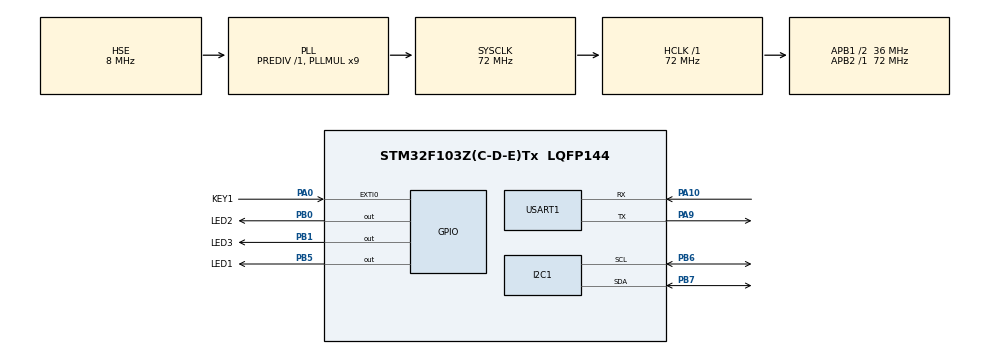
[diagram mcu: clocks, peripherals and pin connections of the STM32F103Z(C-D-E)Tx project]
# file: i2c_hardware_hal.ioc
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Mcu.Family=STM32F1
Mcu.Name=STM32F103Z(C-D-E)Tx
Mcu.Package=LQFP144
NVIC.EXTI0_IRQn=true\:3\:0\:true\:false\:true\:true\:true\:true
NVIC.PriorityGroup=NVIC_PRIORITYGROUP_4
NVIC.USART1_IRQn=true\:3\:0\:true\:false\:true\:true\:true\:true
OSC_IN.Mode=HSE-External-Oscillator
OSC_IN.Signal=RCC_OSC_IN
OSC_OUT.Mode=HSE-External-Oscillator
OSC_OUT.Signal=RCC_OSC_OUT
PA0-WKUP.GPIO_Label=KEY1
PA0-WKUP.GPIO_PuPd=GPIO_PULLDOWN
PA0-WKUP.Signal=GPXTI0
PA10.Mode=Asynchronous
PA10.Signal=USART1_RX
PA13.Mode=Serial_Wire
PA13.Signal=SYS_JTMS-SWDIO
PA14.Mode=Serial_Wire
PA14.Signal=SYS_JTCK-SWCLK
PA9.Mode=Asynchronous
PA9.Signal=USART1_TX
PB0.GPIO_Label=LED2
PB0.GPIO_Speed=GPIO_SPEED_FREQ_HIGH
PB0.PinState=GPIO_PIN_SET
PB0.Signal=GPIO_Output
PB1.GPIO_Label=LED3
PB1.GPIO_Speed=GPIO_SPEED_FREQ_HIGH
PB1.PinState=GPIO_PIN_SET
PB1.Signal=GPIO_Output
PB5.GPIO_Label=LED1
PB5.GPIO_Speed=GPIO_SPEED_FREQ_HIGH
PB5.PinState=GPIO_PIN_SET
PB5.Signal=GPIO_Output
PB6.Mode=I2C
PB6.Signal=I2C1_SCL
PB7.Mode=I2C
PB7.Signal=I2C1_SDA
PC14-OSC32_IN.Mode=LSE-External-Oscillator
PC14-OSC32_IN.Signal=RCC_OSC32_IN
PC15-OSC32_OUT.Mode=LSE-External-Oscillator
PC15-OSC32_OUT.Signal=RCC_OSC32_OUT
ProjectManager.HeapSize=0x200
ProjectManager.StackSize=0x400
ProjectManager.TargetToolchain=MDK-ARM V5.32
RCC.AHBFreq_Value=72000000
RCC.APB1CLKDivider=RCC_HCLK_DIV2
RCC.APB1Freq_Value=36000000
RCC.APB1TimFreq_Value=72000000
RCC.APB2Freq_Value=72000000
RCC.APB2TimFreq_Value=72000000
RCC.HCLKFreq_Value=72000000
RCC.PLLMUL=RCC_PLL_MUL9
RCC.PLLSourceVirtual=RCC_PLLSOURCE_HSE
RCC.SYSCLKFreq_VALUE=72000000
RCC.SYSCLKSource=RCC_SYSCLKSOURCE_PLLCLK
RCC.USBFreq_Value=72000000
USART1.VirtualMode=VM_ASYNC
board=custom

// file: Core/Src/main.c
/* USER CODE BEGIN Header */
/**
 ******************************************************************************
 * @file           : main.c
 * @brief          : Main program body
 ******************************************************************************
 * @attention
 *
 * Copyright (c) 2025 STMicroelectronics.
 * All rights reserved.
 *
 * This software is licensed under terms that can be found in the LICENSE file
 * in the root directory of this software component.
 * If no LICENSE file comes with this software, it is provided AS-IS.
 *
 ******************************************************************************
 */
/* USER CODE END Header */
#include "main.h"
#include "i2c.h"
#include "usart.h"
#include "gpio.h"

/* USER CODE BEGIN Includes */
#include "at24c02.h"
#include <string.h>
/* USER CODE END Includes */

/* USER CODE BEGIN PV */
uint8_t buffer[100];
uint16_t len = 0;
uint8_t ReceptionIsComplete = 0;
/* USER CODE END PV */

void SystemClock_Config(void);

int main(void)
{

  /* MCU Configuration--------------------------------------------------------*/

  /* Reset of all peripherals, Initializes the Flash interface and the Systick. */
  HAL_Init();

  /* Configure the system clock */
  SystemClock_Config();

  /* Initialize all configured peripherals */
  MX_GPIO_Init();
  MX_USART1_UART_Init();
  MX_I2C1_Init();
  /* USER CODE BEGIN 2 */
  printf("WEI\n");

  AT24C02_WriteByte(0x00, 'a');
  AT24C02_WriteByte(0x01, 'b');
  AT24C02_WriteByte(0x02, 'c');
  uint8_t byte1 = AT24C02_ReadByte(0x00);
  uint8_t byte2 = AT24C02_ReadByte(0x01);
  uint8_t byte3 = AT24C02_ReadByte(0x02);
  printf("byte1 = %c\t byte2 = %c\t byte3 = %c\n", byte1, byte2, byte3);

  AT24C02_WriteBytes(0x00, "123456", 6);
  AT24C02_ReadBytes(0x00, buffer, 6);
  printf("bytes = %s\n", buffer);

  memset(buffer, 0, sizeof(buffer));
  AT24C02_WriteBytes(0x00, "1234567890abcde", 15);
  AT24C02_ReadBytes(0x00, buffer, 15);
  printf("bytes = %s\n", buffer);
  /* USER CODE END 2 */

  /* Infinite loop */
  while (1)
  {

  }
}

void SystemClock_Config(void)
{
  RCC_OscInitTypeDef RCC_OscInitStruct = {0};
  RCC_ClkInitTypeDef RCC_ClkInitStruct = {0};

  /** Initializes the RCC Oscillators according to the specified parameters
  * in the RCC_OscInitTypeDef structure.
  */
  RCC_OscInitStruct.OscillatorType = RCC_OSCILLATORTYPE_HSE;
  RCC_OscInitStruct.HSEState = RCC_HSE_ON;
  RCC_OscInitStruct.HSEPredivValue = RCC_HSE_PREDIV_DIV1;
  RCC_OscInitStruct.HSIState = RCC_HSI_ON;
  RCC_OscInitStruct.PLL.PLLState = RCC_PLL_ON;
  RCC_OscInitStruct.PLL.PLLSource = RCC_PLLSOURCE_HSE;
  RCC_OscInitStruct.PLL.PLLMUL = RCC_PLL_MUL9;
  if (HAL_RCC_OscConfig(&RCC_OscInitStruct) != HAL_OK)
  {
    Error_Handler();
  }

  /** Initializes the CPU, AHB and APB buses clocks
  */
  RCC_ClkInitStruct.ClockType = RCC_CLOCKTYPE_HCLK|RCC_CLOCKTYPE_SYSCLK
                              |RCC_CLOCKTYPE_PCLK1|RCC_CLOCKTYPE_PCLK2;
  RCC_ClkInitStruct.SYSCLKSource = RCC_SYSCLKSOURCE_PLLCLK;
  RCC_ClkInitStruct.AHBCLKDivider = RCC_SYSCLK_DIV1;
  RCC_ClkInitStruct.APB1CLKDivider = RCC_HCLK_DIV2;
  RCC_ClkInitStruct.APB2CLKDivider = RCC_HCLK_DIV1;

  if (HAL_RCC_ClockConfig(&RCC_ClkInitStruct, FLASH_LATENCY_2) != HAL_OK)
  {
    Error_Handler();
  }
}

void Error_Handler(void)
{
  __disable_irq();
  while (1)
  {
  }
}
